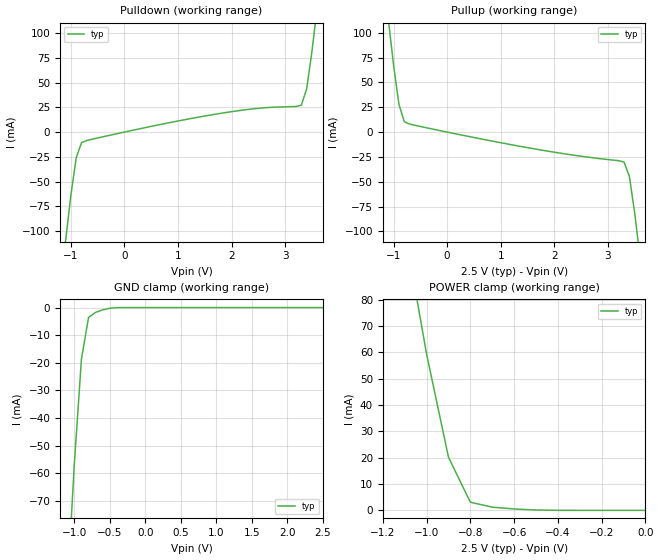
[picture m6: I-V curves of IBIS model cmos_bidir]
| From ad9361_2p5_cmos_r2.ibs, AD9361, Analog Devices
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[model] cmos_bidir
Model_type I/O
Vinl = 0.875
Vinh = 1.625
Cref  =   3.000pF
Rref  =   10kOhm
Vref  =   2.5V
Vmeas =   2.3V
|   typ   min   max
C_comp   4pF   NA   NA
[Voltage Range]   2.500V  NA   NA
[GND Clamp Reference]   0.000V  NA   NA
[POWER Clamp Reference] 2.500V  NA   NA
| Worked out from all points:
|   slope of the pulldown table from 0 to 0.375 V, typ, clamps not added: 86.2 ohm
|   slope of the pullup table from 0 to 0.375 V, typ, clamps not added: 91.1 ohm
|   GND clamp passes 1 mA (typ) near -0.62 V on its own axis
|   POWER clamp passes 1 mA (typ) near -0.67 V on its own axis
[GND Clamp]
| Voltage  I(typ)   I(min)  I(max)
-2.5V     -857.6mA   NA         NA
-1.1V     -103.1mA   NA         NA
-1V       -56.47mA   NA         NA
-900mV    -18.66mA   NA         NA
-800mV    -3.584mA   NA         NA
-700mV    -1.725mA   NA         NA
-500mV    -242.9uA   NA         NA
-400mV    -23.56uA   NA         NA
2.5V      90pA       NA         NA
[POWER Clamp]
| Voltage  I(typ)   I(min)  I(max)
-2.5V     862.9mA    NA         NA
-1.1V     106.5mA    NA         NA
-1V       59.26mA    NA         NA
-900mV    20.15mA    NA         NA
-800mV    3.092mA    NA         NA
-700mV    1.208mA    NA         NA
-500mV    127uA      NA         NA
0V        90pA       NA         NA
[Pulldown]
| Voltage  I(typ)   I(min)  I(max)
-2.5V     -860.7mA   NA         NA
-1.1V     -110.4mA   NA         NA
-1V       -63.72mA   NA         NA
-900mV    -25.81mA   NA         NA
-800mV    -10.55mA   NA         NA
1.6V      17.16mA    NA         NA
2.4V      23.45mA    NA         NA
3.3V      27.12mA    NA         NA
3.4V      43.47mA    NA         NA
3.5V      81.75mA    NA         NA
3.6V      127.9mA    NA         NA
5V        868.8mA    NA         NA
[Pullup]
| Voltage  I(typ)   I(min)  I(max)
-2.5V     866.2mA    NA         NA
-1.1V     114.4mA    NA         NA
-900mV    27.83mA    NA         NA
-800mV    10.41mA    NA         NA
-700mV    8.075mA    NA         NA
-400mV    4.486mA    NA         NA
1.3V      -13.71mA   NA         NA
3.3V      -30.07mA   NA         NA
3.4V      -44.47mA   NA         NA
3.5V      -81.48mA   NA         NA
3.6V      -127.2mA   NA         NA
5V        -866.4mA   NA         NA
[Ramp]
|   typ   min   max
dV/dt_r   1.625V/.111ns   NA   NA
dV/dt_f   1.625V/.107ns   NA   NA
R_load=10k
|--end cmos_bidir model-----------------------------------------------------
